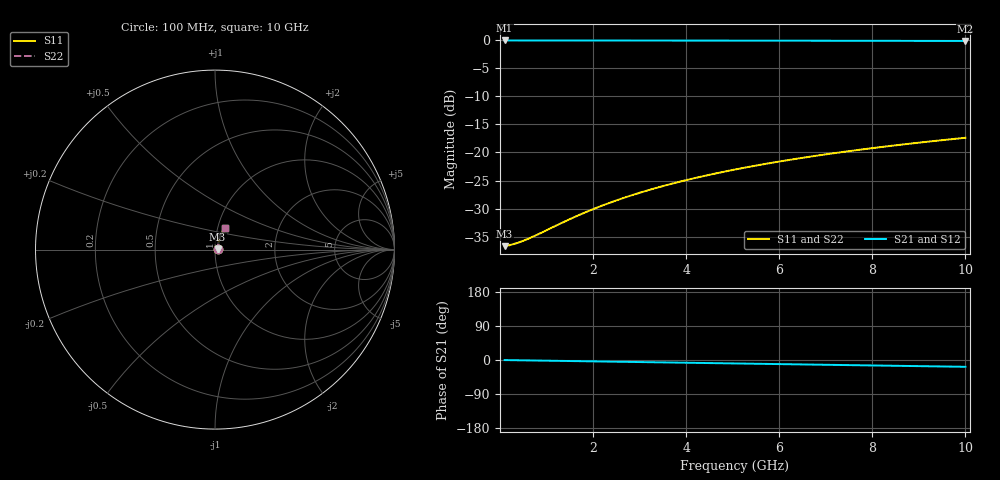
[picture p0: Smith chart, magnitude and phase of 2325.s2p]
# Hz S RI R 50.00
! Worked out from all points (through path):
!   100 points, 100 MHz to 10 GHz, reference 50 ohm
!   highest |S21| = -0.13 dB at 100 MHz (marker M1); lowest = -0.2 dB at 10 GHz (marker M2)
!   group delay of S21, straight-line fit = 4.99 ps
!   lowest |S11| = -36.6 dB at 100 MHz (marker M3), VSWR 1.03, Z = 51.5 + j0.137 ohm
!   |S11| at or under -10 dB: start of sweep to end of sweep
!   |S22| runs from -36.6 to -17.4 dB; largest |S21 - S12| = 0
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1e8  0.0147 0.00133  0.9853 -0.00311  0.9853 -0.00311  0.0147 0.00133
2e8  0.0148 0.00265  0.9852 -0.00621  0.9852 -0.00621  0.0148 0.00265
3e8  0.0149 0.00398  0.9851 -0.00932  0.9851 -0.00932  0.0149 0.00398
4e8  0.015 0.0053  0.985 -0.0124  0.985 -0.0124  0.015 0.0053
6e8  0.0152 0.00795  0.9848 -0.0186  0.9848 -0.0186  0.0152 0.00795
8e8  0.0154 0.0106  0.9845 -0.0248  0.9845 -0.0248  0.0154 0.0106
1.4e9  0.0161 0.0185  0.9836 -0.0434  0.9836 -0.0434  0.0161 0.0185
1.8e9  0.0167 0.0238  0.9828 -0.0558  0.9828 -0.0558  0.0167 0.0238
2.2e9  0.0174 0.029  0.9818 -0.0682  0.9818 -0.0682  0.0174 0.029
2.6e9  0.0183 0.0342  0.9806 -0.0805  0.9806 -0.0805  0.0183 0.0342
3e9  0.0193 0.0394  0.9792 -0.0928  0.9792 -0.0928  0.0193 0.0394
3.4e9  0.0204 0.0446  0.9777 -0.1051  0.9777 -0.1051  0.0204 0.0446
3.8e9  0.0217 0.0497  0.976 -0.1173  0.976 -0.1173  0.0217 0.0497
4.2e9  0.023 0.0548  0.9741 -0.1296  0.9741 -0.1296  0.023 0.0548
4.6e9  0.0245 0.0599  0.972 -0.1417  0.972 -0.1417  0.0245 0.0599
5.1e9  0.0266 0.0662  0.9692 -0.1569  0.9692 -0.1569  0.0266 0.0662
5.9e9  0.0302 0.076  0.9641 -0.181  0.9641 -0.181  0.0302 0.076
6.7e9  0.0344 0.0857  0.9583 -0.2049  0.9583 -0.2049  0.0344 0.0857
7.5e9  0.039 0.0951  0.9518 -0.2285  0.9518 -0.2285  0.039 0.0951
8.4e9  0.0448 0.1053  0.9438 -0.2548  0.9438 -0.2548  0.0448 0.1053
9.2e9  0.0504 0.1142  0.9359 -0.2778  0.9359 -0.2778  0.0504 0.1142
1e10  0.0564 0.1227  0.9274 -0.3005  0.9274 -0.3005  0.0564 0.1227
